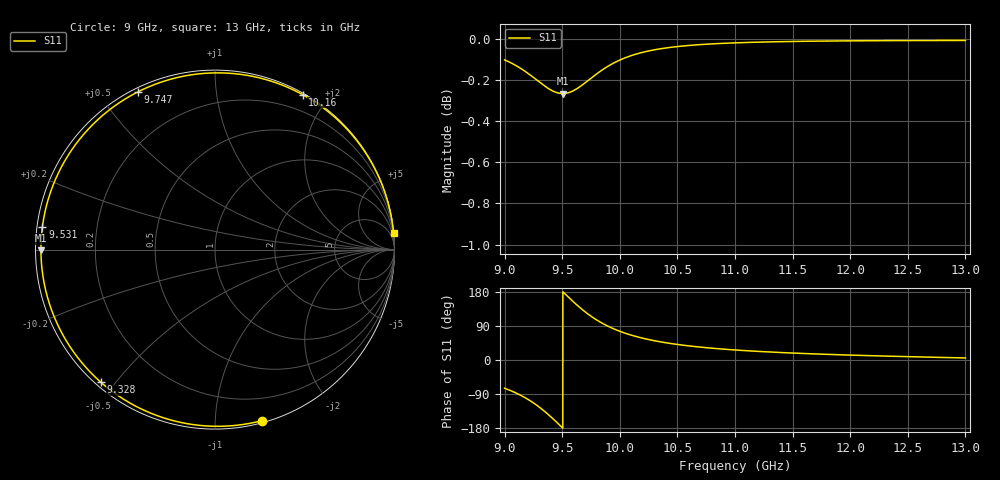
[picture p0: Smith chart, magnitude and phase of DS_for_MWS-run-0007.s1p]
! TOUCHSTONE file generated by CST DESIGN STUDIO
! Date and time: Tue Feb  4 12:23:03 2025
! Project name: C:\Work\MatlabApps\UnitCellOptimizationMatlab\CST\unitcell.cst
! Tree item: Tasks\Sweep1\SPara1\S-Parameters
! Header version: 2024
! Port assignment regex: !\s*Touchstone port\s*([0-9]+)\s*=\s*(CST MWS port|CST DES external port|CST DES block port)\s*(.+)\s* \(\"(.*)\"\)(\s*mode\s*([0-9]+))?.*
! Touchstone port assignment:
! Touchstone port 1 = CST DES external port 1 ("")
# GHz S MA R 50
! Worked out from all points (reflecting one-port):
!   4001 points, 9 GHz to 13 GHz, reference 50 ohm
!   lowest |S11| = -0.3 dB at 9.505 GHz (marker M1), VSWR 65.39, Z = 0.765 - j0.114 ohm
!   phase of S11 starts at -75 deg and turns -280 deg over the sweep
!   S11 on the Smith chart (normalised r, x): 9 GHz: 0.02, -1.31; 9.328 GHz: 0.02, -0.46; 9.531 GHz: 0.02, +0.06; 9.747 GHz: 0.02, +0.62; 10.16 GHz: 0.02, +1.71; 13 GHz: 0, +21
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9  0.9883 -74.6
9.088  0.9856 -85.5
9.19  0.9815 -101.6
9.262  0.9781 -115.7
9.328  0.9749 -130.8
9.374  0.9728 -142.5
9.422  0.9711 -155.6
9.462  0.9702 -167.1
9.5  0.9699 -178.3
9.505  0.9699 -179.7
9.531  0.97 172.6
9.584  0.971 157.3
9.644  0.9732 140.8
9.695  0.9755 128.0
9.747  0.9781 116.2
9.799  0.9806 105.7
9.856  0.9832 95.6
9.927  0.9859 84.9
10  0.9882 75.7
10.159  0.9919 60.5
10.314  0.9941 50.0
10.5  0.9957 41.0
10.722  0.9969 33.3
11  0.9978 26.4
11.5  0.9986 18.3
12  0.9989 12.9
12.5  0.9991 8.8
13  0.9991 5.4
